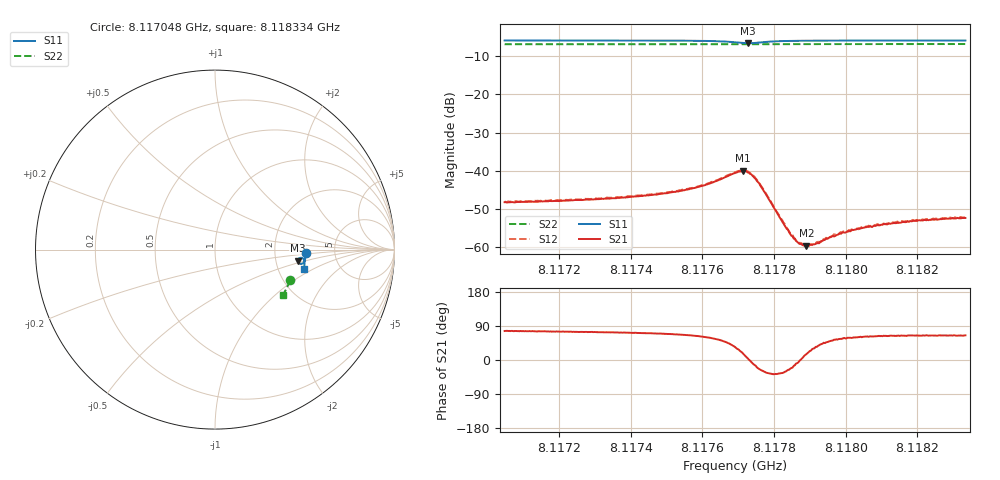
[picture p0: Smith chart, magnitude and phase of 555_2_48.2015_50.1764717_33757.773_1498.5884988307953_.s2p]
#  HZ  S  RI  R  50.00
! Rohde & Schwarz Vector Network Analyzer
! Rohde-Schwarz,ZNB20-2Port,1311601062101988,3.16
! Created: UTC 3/20/2024, 12:00:57 PM
! freq[Hz]  re:S11  im:S11  re:S21  im:S21  re:S12  im:S12  re:S22  im:S22
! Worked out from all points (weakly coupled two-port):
!   401 points, 8.117048 GHz to 8.118334 GHz, reference 50 ohm
!   highest |S21| = -39.95 dB at 8.117714 GHz (marker M1); lowest = -59.6 dB at 8.11789 GHz (marker M2)
!   lowest |S11| = -6.6 dB at 8.117726 GHz (marker M3), VSWR 2.74, Z = 133 - j21 ohm
!   |S11| at or under -10 dB: nowhere
!   |S22| runs from -6.9 to -6.8 dB; largest |S21 - S12| = 0.00035
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8.1170482e9  0.5063 -0.0192  0.000911 0.00378  0.000944 0.00385  0.4176 -0.1717
8.1172636e9  0.5049 -0.0365  0.00113 0.00399  0.00117 0.00408  0.4122 -0.1858
8.1174789e9  0.5016 -0.0558  0.00172 0.00466  0.00181 0.00471  0.4063 -0.1997
8.1175368e9  0.4997 -0.0621  0.00214 0.005  0.0022 0.00512  0.4046 -0.2035
8.1175947e9  0.4962 -0.0694  0.00291 0.00554  0.00302 0.00563  0.4026 -0.2073
8.1176364e9  0.4907 -0.0754  0.00409 0.00605  0.00422 0.00614  0.401 -0.21
8.1176911e9  0.4729 -0.0788  0.00772 0.00526  0.00794 0.00539  0.3987 -0.2132
8.1177136e9  0.463 -0.0706  0.00963 0.0029  0.00969 0.00289  0.3977 -0.214
8.1177264e9  0.461 -0.0617  0.00951 0.00076  0.0098 0.000734  0.3974 -0.2145
8.1177425e9  0.4654 -0.0512  0.00823 -0.00162  0.00847 -0.00168  0.3972 -0.2149
8.1177618e9  0.4756 -0.0454  0.00579 -0.00278  0.00594 -0.00285  0.3971 -0.2159
8.1178197e9  0.4941 -0.0537  0.0019 -0.00131  0.00192 -0.00137  0.3961 -0.22
8.1178486e9  0.4968 -0.0589  0.00132 -0.000509  0.00135 -0.000541  0.3954 -0.2219
8.1178647e9  0.4977 -0.0616  0.00117 -0.000169  0.00121 -0.000188  0.3949 -0.2229
8.1178711e9  0.4981 -0.0627  0.00111 -3.91e-05  0.00113 -1.02e-05  0.3947 -0.2234
8.1178904e9  0.4985 -0.0654  0.00101 0.000283  0.00103 0.000299  0.394 -0.2246
8.1179064e9  0.4987 -0.0677  0.000946 0.00052  0.000954 0.000518  0.3936 -0.2258
8.1179932e9  0.4988 -0.0775  0.000845 0.00132  0.000889 0.00135  0.3908 -0.2314
8.1180575e9  0.4983 -0.0837  0.000865 0.00162  0.000885 0.00165  0.3886 -0.2352
8.1181218e9  0.4974 -0.0895  0.000904 0.00184  0.000935 0.00188  0.3864 -0.2392
8.1181989e9  0.4963 -0.096  0.000942 0.002  0.00102 0.00205  0.3837 -0.244
8.1183339e9  0.4942 -0.1066  0.00102 0.00219  0.0011 0.00222  0.3788 -0.2522
